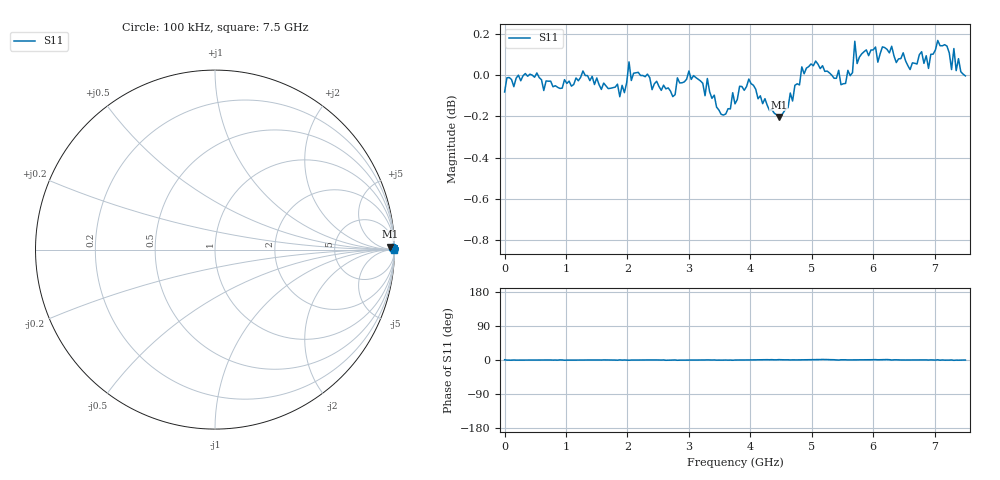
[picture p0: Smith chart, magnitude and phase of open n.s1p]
# Hz S RI R 50.000000
! FREQ  re:S1  1  im:S1  1
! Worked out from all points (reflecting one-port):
!   201 points, 100 kHz to 7.5 GHz, reference 50 ohm
!   lowest |S11| = -0.2 dB at 4.462 GHz (marker M1), VSWR 85.57, Z = 2.81e+03 + j2.03e+03 ohm
!   phase of S11 starts at 1 deg and turns -1 deg over the sweep
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100000  0.9906 0.0112
7.5098e7  0.9987 -0.00819
9.37575e8  0.9928 0.00224
9.75074e8  0.9975 -0.0108
1.837551e9  0.995 -0.00867
1.87505e9  0.988 0.00681
2.025046e9  1.007 -0.0116
2.475034e9  0.9966 0.0044
2.62503e9  0.9923 -0.0127
2.737527e9  0.9881 0.0061
2.812525e9  0.9985 -0.0122
3.75e9  0.9841 -0.000547
3.974994e9  0.9978 0.00268
4.462481e9  0.9768 0.0165
4.687475e9  0.9856 0.00656
4.837471e9  1.005 0.00678
5.174962e9  1.005 0.0259
5.437455e9  1.003 -0.00365
5.474954e9  0.9947 0.0107
5.62495e9  0.9997 0.00414
5.699948e9  1.019 0.00187
6.224934e9  1.014 0.0214
6.299932e9  1.016 0.000106
6.562425e9  1.005 0.000774
7.012413e9  1.014 -0.00357
7.049912e9  1.02 0.0109
7.087411e9  1.017 -0.00973
7.4999e9  0.9996 -0.00153
